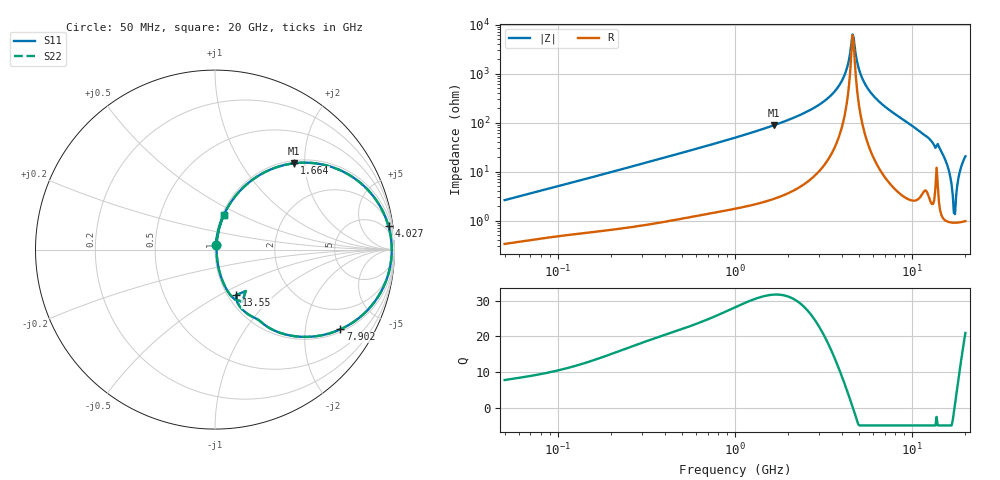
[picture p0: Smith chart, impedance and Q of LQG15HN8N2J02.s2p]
!Murata Part Number: LQG15HN8N2J02
!These Parameters are Measured in Series Mode Connection
!  o--[Z]--o
!Port1  Port2
!  o-------o
!Freq. Start=50[MHz] Stop=20[GHz], 401[Steps]
# Hz S RI R 50
!Freq.(Hz) S11(Real) S11(Imag) S21(Real) S21(Imag) S12(Real) S12(Imag) S22(Real) S22(Imag)
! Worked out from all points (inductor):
!   401 points, 50 MHz to 20 GHz, reference 50 ohm
!   read as one part in series: L = 8.14 nH near 51.52 MHz
!   highest Q = 31.8 at 1.664 GHz (marker M1), where L = 8.46 nH
!   self-resonance near 4.608 GHz
!   S11 on the Smith chart (normalised r, x): 50 MHz: 1.01, +0.05; 1.664 GHz: 1.06, +1.77; 4.027 GHz: 3, +14; 7.902 GHz: 1.09, -3.08; 13.55 GHz: 1.09, -0.60; 20 GHz: 1.02, +0.41
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5e7  0.00399 0.0257  0.996 -0.0257  0.996 -0.0257  0.00399 0.0257
1.364002e8  0.00989 0.0663  0.9901 -0.0663  0.9901 -0.0663  0.00989 0.0663
3.721004e8  0.0394 0.1709  0.9606 -0.1709  0.9606 -0.1709  0.0394 0.1709
1e9  0.2029 0.3848  0.7971 -0.3848  0.7971 -0.3848  0.2029 0.3848
1.664083e9  0.441 0.481  0.559 -0.481  0.559 -0.481  0.441 0.481
2.728004e9  0.7745 0.3989  0.2255 -0.3989  0.2255 -0.3989  0.7745 0.3989
3.466789e9  0.9127 0.2535  0.0873 -0.2535  0.0873 -0.2535  0.9127 0.2535
4.026975e9  0.9669 0.13  0.0331 -0.13  0.0331 -0.13  0.9669 0.13
4.275624e9  0.9789 0.0754  0.0211 -0.0754  0.0211 -0.0754  0.9789 0.0754
4.539627e9  0.9845 0.0187  0.0155 -0.0187  0.0155 -0.0187  0.9845 0.0187
4.677679e9  0.9849 -0.0101  0.0151 0.0101  0.0151 0.0101  0.9849 -0.0101
5.041459e9  0.978 -0.083  0.022 0.083  0.022 0.083  0.978 -0.083
5.433528e9  0.9598 -0.1556  0.0402 0.1556  0.0402 0.1556  0.9598 -0.1556
7.442007e9  0.7578 -0.4126  0.2422 0.4126  0.2422 0.4126  0.7578 -0.4126
7.901521e9  0.6985 -0.4443  0.3015 0.4443  0.3015 0.4443  0.6985 -0.4443
1.034674e10  0.3859 -0.4708  0.6141 0.4708  0.6141 0.4708  0.3859 -0.4708
1.354865e10  0.1181 -0.254  0.8819 0.254  0.8819 0.254  0.1181 -0.254
1.573793e10  0.0284 -0.1353  0.9716 0.1353  0.9716 0.1353  0.0284 -0.1353
1.721783e10  0.00907 -0.011  0.9909 0.011  0.9909 0.011  0.00907 -0.011
1.774144e10  0.00992 0.0308  0.9901 -0.0308  0.9901 -0.0308  0.00992 0.0308
1.88369e10  0.0223 0.1134  0.9777 -0.1134  0.9777 -0.1134  0.0223 0.1134
2e10  0.0488 0.1929  0.9512 -0.1929  0.9512 -0.1929  0.0488 0.1929
